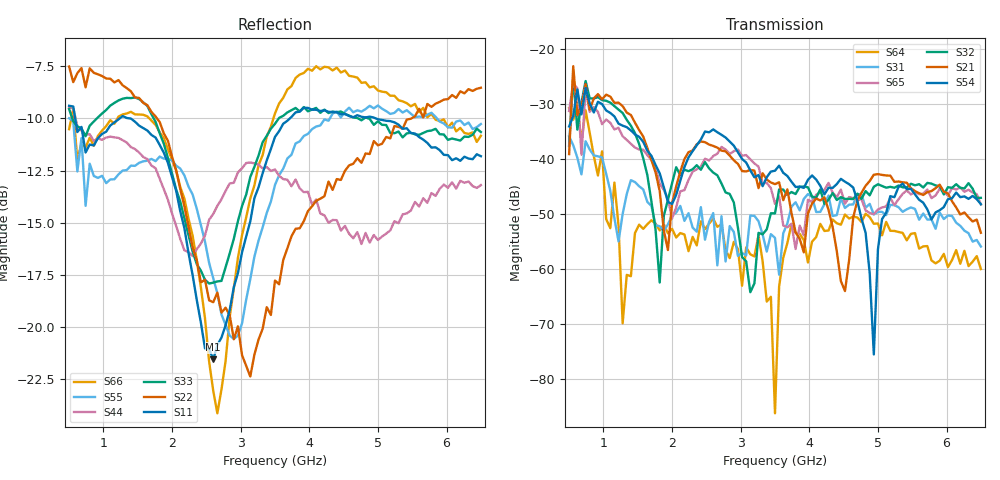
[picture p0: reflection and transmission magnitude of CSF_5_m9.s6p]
!Keysight Technologies,M9804A,MY58100912,A.14.10.03
!Date: Thursday, April 27, 2023 10:28:33
!Correction: S11(C  6-Port  )
!S12(C  6-Port  )
!S13(C  6-Port  )
!S14(C  6-Port  )
!S15(C  6-Port  )
!S16(C  6-Port  )
!S21(C  6-Port  )
!S22(C  6-Port  )
!S23(C  6-Port  )
!S24(C  6-Port  )
!S25(C  6-Port  )
!S26(C  6-Port  )
!S31(C  6-Port  )
!S32(C  6-Port  )
!S33(C  6-Port  )
!S34(C  6-Port  )
!S35(C  6-Port  )
!S36(C  6-Port  )
!S41(C  6-Port  )
!S42(C  6-Port  )
!S43(C  6-Port  )
!S44(C  6-Port  )
!S45(C  6-Port  )
!S46(C  6-Port  )
!S51(C  6-Port  )
!S52(C  6-Port  )
!S53(C  6-Port  )
!S54(C  6-Port  )
!S55(C  6-Port  )
!S56(C  6-Port  )
!S61(C  6-Port  )
!S62(C  6-Port  )
!S63(C  6-Port  )
!S64(C  6-Port  )
!S65(C  6-Port  )
!S66(C  6-Port  )
!S6P File: Measurement: :
# Hz S  RI  R 50
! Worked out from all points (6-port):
!   101 points, 500 MHz to 6.5 GHz, reference 50 ohm
!   strongest paths, dB at 500 MHz, 2 GHz, 3.5 GHz, 5 GHz, 6.5 GHz:
!     S54: -34.1, -48.2, -42.1, -56.4, -48.2
!     S21: -39.1, -48.0, -44.6, -42.8, -53.4
!     S32: -37.6, -44.4, -49.9, -44.6, -47.1
!     S65: -31.3, -50.8, -48.2, -49.2, -48.3
!     S31: -35.9, -50.2, -54.3, -49.6, -55.9
!     S64: -30.8, -52.7, -86.1, -51.7, -60.0
!   lowest |S11| = -21.6 dB at 2.6 GHz (marker M1), VSWR 1.18, Z = 42.6 + j2.08 ohm
!   |S11| at or under -10 dB: 588.2 MHz to 1.236 GHz (648 MHz wide, 71 % of centre); 1.39 GHz to 3.716 GHz (2.326 GHz wide, 91.1 % of centre); 4.971 GHz to end of sweep
